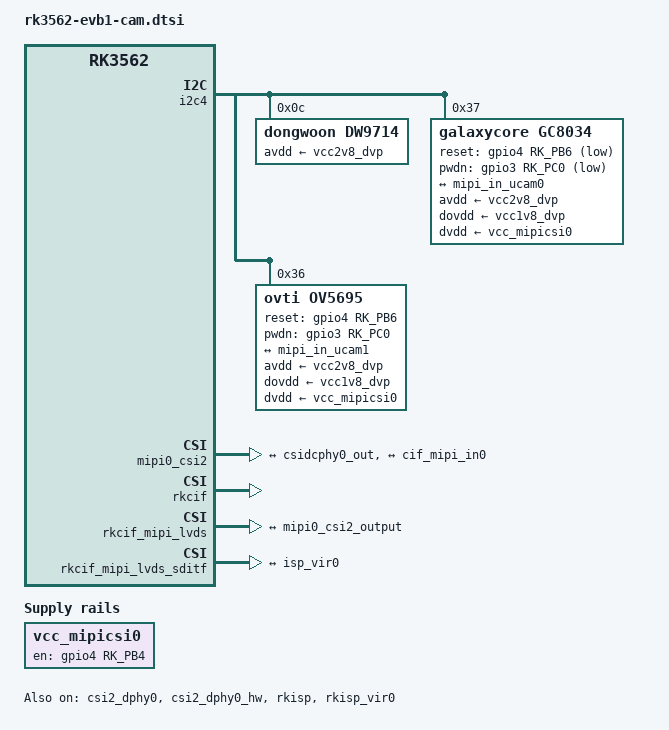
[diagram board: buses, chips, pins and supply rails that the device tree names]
// SPDX-License-Identifier: (GPL-2.0+ OR MIT)
/*
 * Copyright (c) 2023 Rockchip Electronics Co., Ltd.
 *
 */

/ {
	vcc_mipicsi0: vcc-mipicsi0-regulator {
		compatible = "regulator-fixed";
		gpio = <&gpio4 RK_PB4 GPIO_ACTIVE_HIGH>;
		pinctrl-names = "default";
		pinctrl-0 = <&mipicsi0_pwr>;
		regulator-name = "vcc_mipicsi0";
		enable-active-high;
	};

};

&csi2_dphy0 {
	status = "okay";

	ports {
		#address-cells = <1>;
		#size-cells = <0>;
		port@0 {
			reg = <0>;
			#address-cells = <1>;
			#size-cells = <0>;

			mipi_in_ucam0: endpoint@1 {
				reg = <1>;
				remote-endpoint = <&gc8034_out0>;
				data-lanes = <1 2 3 4>;
			};
			mipi_in_ucam1: endpoint@2 {
				reg = <2>;
				remote-endpoint = <&ov5695_out0>;
				data-lanes = <1 2>;
			};

		};
		port@1 {
			reg = <1>;
			#address-cells = <1>;
			#size-cells = <0>;

			csidcphy0_out: endpoint@0 {
				reg = <0>;
				remote-endpoint = <&mipi0_csi2_input>;
			};
		};
	};
};

&i2c4 {
	status = "okay";

	dw9714: dw9714@c {
		compatible = "dongwoon,dw9714";
		status = "okay";
		reg = <0x0c>;
		avdd-supply = <&vcc2v8_dvp>;
		rockchip,vcm-start-current = <10>;
		rockchip,vcm-rated-current = <85>;
		rockchip,vcm-step-mode = <5>;
		rockchip,camera-module-index = <0>;
		rockchip,camera-module-facing = "back";
	};

	gc8034: gc8034@37 {
		compatible = "galaxycore,gc8034";
		reg = <0x37>;
		clocks = <&cru CLK_CAM0_OUT2IO>;
		clock-names = "xvclk";
		pinctrl-names = "default";
		pinctrl-0 = <&camm0_clk0_out>;
		reset-gpios = <&gpio4 RK_PB6 GPIO_ACTIVE_LOW>;
		pwdn-gpios = <&gpio3 RK_PC0 GPIO_ACTIVE_LOW>;
		avdd-supply = <&vcc2v8_dvp>;
		dovdd-supply = <&vcc1v8_dvp>;
		dvdd-supply = <&vcc_mipicsi0>;
		rockchip,camera-module-index = <0>;
		rockchip,camera-module-facing = "back";
		rockchip,camera-module-name = "RK-CMK-8M-2-v1";
		rockchip,camera-module-lens-name = "CK8401";
		lens-focus = <&dw9714>;
		port {
			gc8034_out0: endpoint {
				remote-endpoint = <&mipi_in_ucam0>;
				data-lanes = <1 2 3 4>;
			};
		};
	};
	ov5695: ov5695@36 {
		compatible = "ovti,ov5695";
		reg = <0x36>;
		clocks = <&cru CLK_CAM0_OUT2IO>;
		clock-names = "xvclk";
		pinctrl-names = "default";
		pinctrl-0 = <&camm0_clk0_out>;
		reset-gpios = <&gpio4 RK_PB6 GPIO_ACTIVE_HIGH>;
		pwdn-gpios = <&gpio3 RK_PC0 GPIO_ACTIVE_HIGH>;
		avdd-supply = <&vcc2v8_dvp>;
		dovdd-supply = <&vcc1v8_dvp>;
		dvdd-supply = <&vcc_mipicsi0>;
		rockchip,camera-module-index = <0>;
		rockchip,camera-module-facing = "back";
		rockchip,camera-module-name = "TongJu";
		rockchip,camera-module-lens-name = "CHT842-MD";
		port {
			ov5695_out0: endpoint {
				remote-endpoint = <&mipi_in_ucam1>;
				data-lanes = <1 2>;
			};
		};
	};

};

&csi2_dphy0_hw {
	status = "okay";
};

&mipi0_csi2 {
	status = "okay";

	ports {
		#address-cells = <1>;
		#size-cells = <0>;

		port@0 {
			reg = <0>;
			#address-cells = <1>;
			#size-cells = <0>;

			mipi0_csi2_input: endpoint@1 {
				reg = <1>;
				remote-endpoint = <&csidcphy0_out>;
			};
		};

		port@1 {
			reg = <1>;
			#address-cells = <1>;
			#size-cells = <0>;

			mipi0_csi2_output: endpoint@0 {
				reg = <0>;
				remote-endpoint = <&cif_mipi_in0>;
			};
		};
	};
};

&rkcif {
	status = "okay";
};

&rkcif_mipi_lvds {
	status = "okay";

	port {
		cif_mipi_in0: endpoint {
			remote-endpoint = <&mipi0_csi2_output>;
		};
	};
};

&rkcif_mipi_lvds_sditf {
	status = "okay";

	port {
		mipi_lvds_sditf: endpoint {
			remote-endpoint = <&isp_vir0>;
		};
	};
};

&rkcif_mmu {
	status = "okay";
};

&rkisp {
	status = "okay";
};

&rkisp_mmu {
	status = "okay";
};

&rkisp_vir0 {
	status = "okay";

	port {
		#address-cells = <1>;
		#size-cells = <0>;

		isp_vir0: endpoint@0 {
			reg = <0>;
			remote-endpoint = <&mipi_lvds_sditf>;
		};
	};
};

&pinctrl {
	cam {
		mipicsi0_pwr: mipicsi0-pwr {
			rockchip,pins =
				/* camera power en */
				<4 RK_PB4 RK_FUNC_GPIO &pcfg_pull_none>;
		};
	};
};

